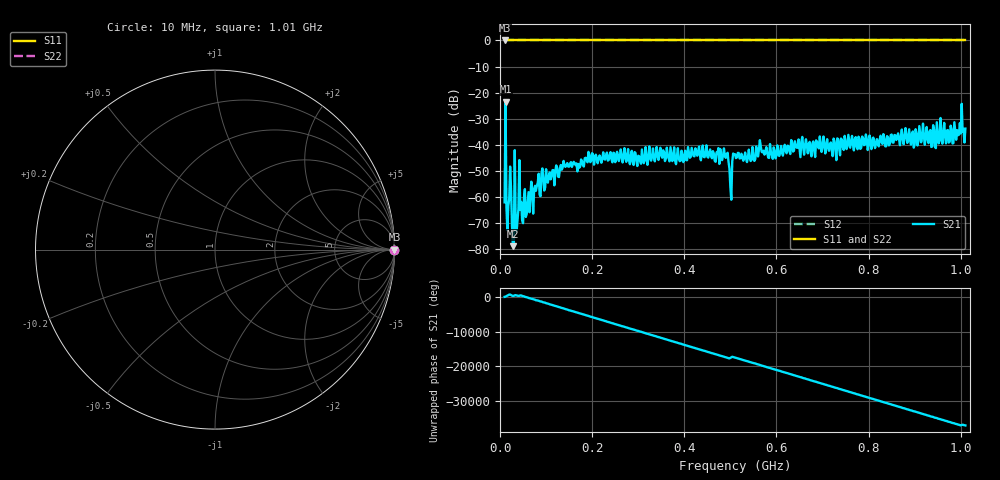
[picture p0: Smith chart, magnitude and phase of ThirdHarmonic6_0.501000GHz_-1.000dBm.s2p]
! 8/15/2025 3:04:53 PM
! C:\ANRITSUVNA\TEMP\TEMP.S2P
! CHANNEL.1
! TR.MEASUREMENT
! RAW.DATA
! RF.CORRECTION.OFF
! AVERAGING.OFF
! IF.BANDWIDTH: 5KHZ
! SWEEPTYPE:  FREQ.SWEEP(Linear)
! Reference Plane Port Info
! PORT:  PORT1  PORT2
! DISTANCE:  0  m  0  m
! TIME:  0  s  0  s
! PHASE.OFFSET:  0  deg.  0  deg.
! LOSS:  0  dB  0  dB
! REF.LOSS:  0  dB  0  dB
! REF.FREQ:  0  Hz  0  Hz
! Power Info
! POWER:  -20  dBm  -20  dBm
! EFF.POWER:  -20  dBm  -20  dBm
! SOURCE.ATTEN:  0  dB  0  dB
! TEST.ATTEN:  0  dB  0  dB
# GHZ S RI R 50.0
! FREQ.GHZ  S11RE  S11IM  S21RE  S21IM  S12RE  S12IM  S22RE  S22IM
!; PortSelection: Port_12
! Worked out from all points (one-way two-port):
!   501 points, 10 MHz to 1.01 GHz, reference 50 ohm
!   highest |S21| = -23.49 dB at 12 MHz (marker M1); lowest = -78.9 dB at 28 MHz (marker M2)
!   lowest |S11| = 0.0 dB at 10 MHz (marker M3)
!   |S11| at or under -10 dB: nowhere
!   |S22| runs from 0.0 to 0.0 dB; largest |S21 - S12| = 1.1
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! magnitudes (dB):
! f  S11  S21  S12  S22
! 10 MHz  0.0  -62.1  0.0  0.0
! 12 MHz  0.0  -23.5  0.0  0.0
! 28 MHz  0.0  -78.9  0.0  0.0
! 32 MHz  0.0  -42.1  0.0  0.0
! 42 MHz  0.0  -45.9  0.0  0.0
! 48 MHz  0.0  -68.9  0.0  0.0
! 60 MHz  0.0  -62.2  0.0  0.0
! 80 MHz  0.0  -55.8  0.0  0.0
! 136 MHz  0.0  -48.7  0.0  0.0
! 178 MHz  0.0  -46.5  0.0  0.0
! 344 MHz  0.0  -45.8  0.0  0.0
! 490 MHz  0.0  -45.0  0.0  0.0
! 500 MHz  0.0  -56.4  0.0  0.0
! 510 MHz  0.0  -43.6  0.0  0.0
! 678 MHz  0.0  -39.5  0.0  0.0
! 844 MHz  0.0  -40.3  0.0  0.0
! 914 MHz  0.0  -39.1  0.0  0.0
! 942 MHz  0.0  -34.2  0.0  0.0
! 960 MHz  0.0  -39.6  0.0  0.0
! 972 MHz  0.0  -34.4  0.0  0.0
! 1.002 GHz  0.0  -24.3  0.0  0.0
! 1.01 GHz  0.0  -33.8  0.0  0.0
